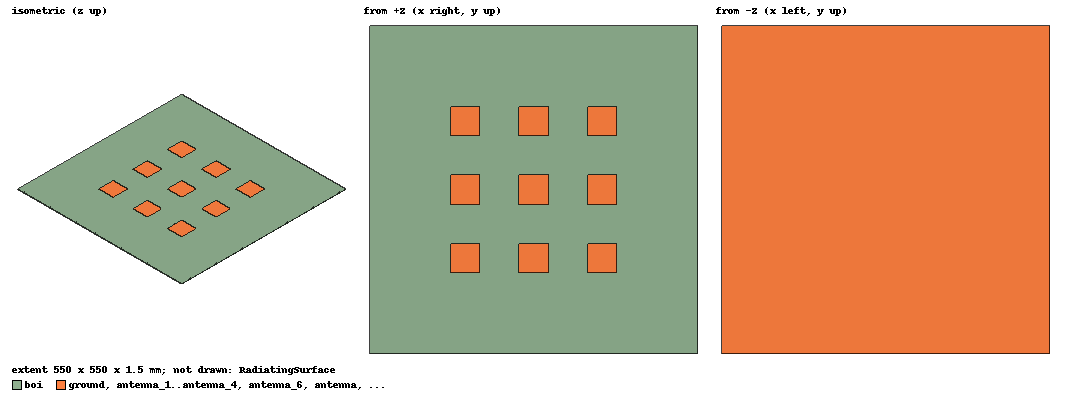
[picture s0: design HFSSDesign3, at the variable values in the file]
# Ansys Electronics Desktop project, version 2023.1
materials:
  FR4_epoxy: permittivity=4.4 dielectric_loss_tangent=0.02
  Rogers RT/duroid 5880 (tm): permittivity=2.2 dielectric_loss_tangent=0.0009
  vacuum: permittivity=1

design HFSSDesign3 (HFSS, HFSS Hybrid Terminal Network, model units mm)
options: open_region{BoundaryType=0 OpFreq=2GHz}
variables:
  sub_x = 55cm
  sub_y = 55cm
  sub_z = 1.5mm
  ant_x = 48.75mm
  ant_y = ant_x
  delta = 4mm
  strip_w = 0.16mm
  chop = 10mm
  r_corn = 5mm
  xd0 = 115mm
  yd0 = 115mm
  xd1 = xd0
  yd1 = 0mm
  xd2 = xd0
  yd2 = - yd0
  xd3 = 0mm
  yd3 = yd0
  xd4 = 0mm
  yd4 = - yd0
  xd5 = - xd0
  yd5 = yd0
  xd6 = - xd0
  yd6 = 0mm
  xd7 = - xd0
  yd7 = - yd0
  c_p0 = 1V
  box_x = 65mm
  box_y = box_x
  x0 = [24.2740191429942, 21.661046225253] mm
  y0 = [24.2740191429942, 0] mm
  x1 = [24.2740191429942, 21.661046225253] mm
  y1 = [24.2740191429942, 0] mm
  x2 = [24.2740191429942, 21.661046225253] mm
  y2 = [24.2740191429942, 0] mm
  x3 = [24.2740191429942, 21.661046225253] mm
  y3 = [24.2740191429942, 0] mm
  x4 = [24.2740191429942, 21.661046225253] mm
  y4 = [24.2740191429942, 0] mm
  x5 = [24.2740191429942, 21.661046225253] mm
  y5 = [24.2740191429942, 0] mm
  x6 = [24.2740191429942, 21.661046225253] mm
  y6 = [24.2740191429942, 0] mm
  x7 = [24.2740191429942, 21.661046225253] mm
  y7 = [24.2740191429942, 0] mm
  c1 = 1e-06V
  p1 = 0
  c2 = 1e-06V
  p2 = 0
  c3 = 1e-06V
  p3 = 0
  c4 = 1e-06V
  c5 = 1e-06V
  c6 = 1e-06V
  c7 = 1e-06V
  c8 = 1e-06V
  c9 = 1e-06V
  p4 = 0
  p5 = 0
  p6 = 0
  p7 = 0
  p8 = 0
  p9 = 0
  c_p1 = 1e-06V
  c_p2 = 1e-06V
  c_p3 = 1e-06V
  c_p4 = 1e-06V
  c_p5 = 1e-06V
  c_p6 = 1e-06V
  c_p7 = 1e-06V
  c_p8 = 1e-06V
  c_p9 = 1e-06V
  p_p1 = 0
  p_p2 = 0
  p_p3 = 0
  p_p4 = 0
  p_p6 = 0
  p_p5 = 0
  p_p7 = 0
  p_p8 = 0
  p_p9 = 0
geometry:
  substrate = box(corner=(-sub_x / 2, - sub_y / 2, - sub_z), size=(sub_x, sub_y, sub_z))
  antenna = rectangle(corner=(-ant_x / 2, - ant_y / 2, 0mm), x_size=ant_x, y_size=ant_y)
  ground [FR4_epoxy] = object_from(boi.face(2 of 6))
  strip = rectangle(corner=(ant_x / 2 + delta, - strip_w / 2, 0mm), x_size=- delta, y_size=strip_w)
  port = rectangle(corner=(ant_x / 2 + delta, - strip_w / 2, 0mm), y_size=strip_w, z_size=-sub_z)
  coordinate_system RelativeCS1 = origin=(0mm, 0mm, 0mm) Euler Angle ZYZ phi=0deg theta=270deg psi=0deg
  antenna_1 = antenna.duplicate_along_line(step=(xd0, yd0, 0mm), total=2)
  strip_1 = strip.duplicate_along_line(step=(xd0, yd0, 0mm), total=2)
  port_1 = port.duplicate_along_line(step=(xd0, yd0, 0mm), total=2)
  strip_2 = strip.duplicate_along_line(step=(xd1, yd1, 0mm), total=2)
  antenna_2 = antenna.duplicate_along_line(step=(xd1, yd1, 0mm), total=2)
  port_2 = port.duplicate_along_line(step=(xd1, yd1, 0mm), total=2)
  strip_3 = strip.duplicate_along_line(step=(xd2, yd2, 0mm), total=2)
  antenna_3 = antenna.duplicate_along_line(step=(xd2, yd2, 0mm), total=2)
  port_3 = port.duplicate_along_line(step=(xd2, yd2, 0mm), total=2)
  strip_4 = strip.duplicate_along_line(step=(xd3, yd3, 0mm), total=2)
  antenna_4 = antenna.duplicate_along_line(step=(xd3, yd3, 0mm), total=2)
  port_4 = port.duplicate_along_line(step=(xd3, yd3, 0mm), total=2)
  strip_5 = strip.duplicate_along_line(step=(xd4, yd4, 0mm), total=2)
  antenna_5 = antenna.duplicate_along_line(step=(xd4, yd4, 0mm), total=2)
  port_5 = port.duplicate_along_line(step=(xd4, yd4, 0mm), total=2)
  strip_6 = strip.duplicate_along_line(step=(xd5, yd5, 0mm), total=2)
  antenna_6 = antenna.duplicate_along_line(step=(xd5, yd5, 0mm), total=2)
  port_6 = port.duplicate_along_line(step=(xd5, yd5, 0mm), total=2)
  strip_7 = strip.duplicate_along_line(step=(xd6, yd6, 0mm), total=2)
  antenna_7 = antenna.duplicate_along_line(step=(xd6, yd6, 0mm), total=2)
  port_7 = port.duplicate_along_line(step=(xd6, yd6, 0mm), total=2)
  strip_8 = strip.duplicate_along_line(step=(xd7, yd7, 0mm), total=2)
  antenna_8 = antenna.duplicate_along_line(step=(xd7, yd7, 0mm), total=2)
  port_8 = port.duplicate_along_line(step=(xd7, yd7, 0mm), total=2)
  port_perp = port.duplicate_around_axis(axis=Z, angle=-90deg, total=2)
  strip_perp = strip.duplicate_around_axis(axis=Z, angle=-90deg, total=2)
  port_perp_1 = port_perp.duplicate_along_line(step=(xd0, yd0, 0mm), total=2)
  strip_perp_1 = strip_perp.duplicate_along_line(step=(xd0, yd0, 0mm), total=2)
  port_perp_2 = port_perp.duplicate_along_line(step=(xd1, yd1, 0mm), total=2)
  strip_perp_2 = strip_perp.duplicate_along_line(step=(xd1, yd1, 0mm), total=2)
  port_perp_3 = port_perp.duplicate_along_line(step=(xd2, yd2, 0mm), total=2)
  strip_perp_3 = strip_perp.duplicate_along_line(step=(xd2, yd2, 0mm), total=2)
  port_perp_4 = port_perp.duplicate_along_line(step=(xd3, yd3, 0mm), total=2)
  strip_perp_4 = strip_perp.duplicate_along_line(step=(xd3, yd3, 0mm), total=2)
  port_perp_5 = port_perp.duplicate_along_line(step=(xd4, yd4, 0mm), total=2)
  strip_perp_5 = strip_perp.duplicate_along_line(step=(xd4, yd4, 0mm), total=2)
  port_perp_6 = port_perp.duplicate_along_line(step=(xd5, yd5, 0mm), total=2)
  strip_perp_6 = strip_perp.duplicate_along_line(step=(xd5, yd5, 0mm), total=2)
  port_perp_7 = port_perp.duplicate_along_line(step=(xd6, yd6, 0mm), total=2)
  strip_perp_7 = strip_perp.duplicate_along_line(step=(xd6, yd6, 0mm), total=2)
  port_perp_8 = port_perp.duplicate_along_line(step=(xd7, yd7, 0mm), total=2)
  strip_perp_8 = strip_perp.duplicate_along_line(step=(xd7, yd7, 0mm), total=2)
  boi [Rogers RT/duroid 5880 (tm)] = box(corner=(- box_x / 2, - box_y / 2, - sub_z), size=(box_x, box_y, sub_z))
  boi_1 = boi.duplicate_along_line(step=(xd0, yd0, 0mm), total=2)
  boi_2 = boi.duplicate_along_line(step=(xd1, yd1, 0mm), total=2)
  boi_3 = boi.duplicate_along_line(step=(xd2, yd2, 0mm), total=2)
  boi_4 = boi.duplicate_along_line(step=(xd3, yd3, 0mm), total=2)
  boi_5 = boi.duplicate_along_line(step=(xd4, yd4, 0mm), total=2)
  boi_6 = boi.duplicate_along_line(step=(xd5, yd5, 0mm), total=2)
  boi_7 = boi.duplicate_along_line(step=(xd6, yd6, 0mm), total=2)
  boi_8 = boi.duplicate_along_line(step=(xd7, yd7, 0mm), total=2)
  boi_9 = boi.copy()
  boi_1_1 = boi_1.copy()
  boi_2_1 = boi_2.copy()
  boi_3_1 = boi_3.copy()
  boi_4_1 = boi_4.copy()
  boi_5_1 = boi_5.copy()
  boi_6_1 = boi_6.copy()
  boi_7_1 = boi_7.copy()
  boi_8_1 = boi_8.copy()
  substrate.subtract(boi_9, boi_1_1, boi_2_1, boi_3_1, boi_4_1, boi_5_1, boi_6_1, boi_7_1, boi_8_1)
  boi.unite(boi_1..boi_8, substrate)
  [antenna, ground, strip, port, antenna_1, strip_1, port_1, strip_2, antenna_2, port_2, strip_3, antenna_3, port_3, strip_4, antenna_4, port_4, strip_5, antenna_5, port_5, strip_6, antenna_6, port_6, strip_7, antenna_7, port_7, strip_8, antenna_8, port_8, port_perp, strip_perp, port_perp_1, strip_perp_1, port_perp_2, strip_perp_2, port_perp_3, strip_perp_3, port_perp_4, strip_perp_4, port_perp_5, strip_perp_5, port_perp_6, strip_perp_6, port_perp_7, strip_perp_7, port_perp_8, strip_perp_8, boi].rotate(axis=Y, angle=90deg)
  [antenna, ground, strip, port, antenna_1, strip_1, port_1, strip_2, antenna_2, port_2, strip_3, antenna_3, port_3, strip_4, antenna_4, port_4, strip_5, antenna_5, port_5, strip_6, antenna_6, port_6, strip_7, antenna_7, port_7, strip_8, antenna_8, port_8, port_perp, strip_perp, port_perp_1, strip_perp_1, port_perp_2, strip_perp_2, port_perp_3, strip_perp_3, port_perp_4, strip_perp_4, port_perp_5, strip_perp_5, port_perp_6, strip_perp_6, port_perp_7, strip_perp_7, port_perp_8, strip_perp_8, boi].rotate(axis=Y, angle=-90deg)
  RadiatingSurface [vacuum] = region(absolute_offset=50mm on all sides)
  group Group1 = antenna, strip, port, antenna_1, strip_1, port_1, strip_2, antenna_2, port_2, strip_3, antenna_3, port_3, strip_4, antenna_4, port_4, strip_5, antenna_5, port_5, strip_6, antenna_6, port_6, strip_7, antenna_7, port_7, strip_8, antenna_8, port_8, port_perp, strip_perp, port_perp_1, strip_perp_1, port_perp_2, strip_perp_2, port_perp_3, strip_perp_3, port_perp_4, strip_perp_4, port_perp_5, strip_perp_5, port_perp_6, strip_perp_6, port_perp_7, strip_perp_7, port_perp_8, strip_perp_8
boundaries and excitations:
  PerfE1: Perfect E Faces=boi.face(at (0, 0, -1.5))
  PerfE2: Perfect E Objects=[antenna, antenna_1..antenna_8, strip, strip_1..strip_8, strip_perp, strip_perp_1..strip_perp_8]
  AutoOpen1: Radiation Objects=RadiatingSurface
  strip_T1: Terminal port=1 Edges=strip.edge(at (28.375, 0, 0)) TerminalResistance=50ohm
  strip_T2: Terminal port=2 Edges=strip_1.edge(at (143.375, 115, 0)) TerminalResistance=50ohm
  strip_T3: Terminal port=3 Edges=strip_2.edge(at (143.375, 0, 0)) TerminalResistance=50ohm
  strip_T4: Terminal port=4 Edges=strip_3.edge(at (143.375, -115, 0)) TerminalResistance=50ohm
  strip_T5: Terminal port=5 Edges=strip_4.edge(at (28.375, 115, 0)) TerminalResistance=50ohm
  strip_T6: Terminal port=6 Edges=strip_5.edge(at (28.375, -115, 0)) TerminalResistance=50ohm
  strip_T7: Terminal port=7 Edges=strip_6.edge(at (-86.625, 115, 0)) TerminalResistance=50ohm
  strip_T8: Terminal port=8 Edges=strip_7.edge(at (-86.625, 0, 0)) TerminalResistance=50ohm
  strip_T9: Terminal port=9 Edges=strip_8.edge(at (-86.625, -115, 0)) TerminalResistance=50ohm
  strip_perp_T1: Terminal port=perp_1 Edges=strip_perp.edge(at (0, -28.375, 0)) TerminalResistance=50ohm
  strip_perp_T2: Terminal port=perp_2 Edges=strip_perp_1.edge(at (115, 86.625, 0)) TerminalResistance=50ohm
  strip_perp_T3: Terminal port=perp_3 Edges=strip_perp_2.edge(at (115, -28.375, 0)) TerminalResistance=50ohm
  strip_perp_T4: Terminal port=perp_4 Edges=strip_perp_3.edge(at (115, -143.375, 0)) TerminalResistance=50ohm
  strip_perp_T5: Terminal port=perp_5 Edges=strip_perp_4.edge(at (0, 86.625, 0)) TerminalResistance=50ohm
  strip_perp_T6: Terminal port=perp_6 Edges=strip_perp_5.edge(at (0, -143.375, 0)) TerminalResistance=50ohm
  strip_perp_T7: Terminal port=perp_7 Edges=strip_perp_6.edge(at (-115, 86.625, 0)) TerminalResistance=50ohm
  strip_perp_T8: Terminal port=perp_8 Edges=strip_perp_7.edge(at (-115, -28.375, 0)) TerminalResistance=50ohm
  strip_perp_T9: Terminal port=perp_9 Edges=strip_perp_8.edge(at (-115, -143.375, 0)) TerminalResistance=50ohm
  1: Lumped Port Faces=port.face(at (28.375, 0, -0.75)) LumpedPortType=Terminal RenormalizeAllTerminals=false Impedance=200ohm
  2: Lumped Port Faces=port_1.face(at (143.375, 115, -0.75)) LumpedPortType=Terminal RenormalizeAllTerminals=false Impedance=200ohm
  3: Lumped Port Faces=port_2.face(at (143.375, 0, -0.75)) LumpedPortType=Terminal RenormalizeAllTerminals=false Impedance=200ohm
  4: Lumped Port Faces=port_3.face(at (143.375, -115, -0.75)) LumpedPortType=Terminal RenormalizeAllTerminals=false Impedance=200ohm
  5: Lumped Port Faces=port_4.face(at (28.375, 115, -0.75)) LumpedPortType=Terminal RenormalizeAllTerminals=false Impedance=200ohm
  6: Lumped Port Faces=port_5.face(at (28.375, -115, -0.75)) LumpedPortType=Terminal RenormalizeAllTerminals=false Impedance=200ohm
  7: Lumped Port Faces=port_6.face(at (-86.625, 115, -0.75)) LumpedPortType=Terminal RenormalizeAllTerminals=false Impedance=200ohm
  8: Lumped Port Faces=port_7.face(at (-86.625, 0, -0.75)) LumpedPortType=Terminal RenormalizeAllTerminals=false Impedance=200ohm
  9: Lumped Port Faces=port_8.face(at (-86.625, -115, -0.75)) LumpedPortType=Terminal RenormalizeAllTerminals=false Impedance=200ohm
  perp_1: Lumped Port Faces=port_perp.face(at (0, -28.375, -0.75)) LumpedPortType=Terminal RenormalizeAllTerminals=false Impedance=200ohm
  perp_2: Lumped Port Faces=port_perp_1.face(at (115, 86.625, -0.75)) LumpedPortType=Terminal RenormalizeAllTerminals=false Impedance=200ohm
  perp_3: Lumped Port Faces=port_perp_2.face(at (115, -28.375, -0.75)) LumpedPortType=Terminal RenormalizeAllTerminals=false Impedance=200ohm
  perp_4: Lumped Port Faces=port_perp_3.face(at (115, -143.375, -0.75)) LumpedPortType=Terminal RenormalizeAllTerminals=false Impedance=200ohm
  perp_5: Lumped Port Faces=port_perp_4.face(at (0, 86.625, -0.75)) LumpedPortType=Terminal RenormalizeAllTerminals=false Impedance=200ohm
  perp_6: Lumped Port Faces=port_perp_5.face(at (0, -143.375, -0.75)) LumpedPortType=Terminal RenormalizeAllTerminals=false Impedance=200ohm
  perp_7: Lumped Port Faces=port_perp_6.face(at (-115, 86.625, -0.75)) LumpedPortType=Terminal RenormalizeAllTerminals=false Impedance=200ohm
  perp_8: Lumped Port Faces=port_perp_7.face(at (-115, -28.375, -0.75)) LumpedPortType=Terminal RenormalizeAllTerminals=false Impedance=200ohm
  perp_9: Lumped Port Faces=port_perp_8.face(at (-115, -143.375, -0.75)) LumpedPortType=Terminal RenormalizeAllTerminals=false Impedance=200ohm
  reference conductors: ground
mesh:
  Length6: LengthBased RefineInside disabled Objects=boi NumMaxElem=80000 MaxLength=4mm
  Length8: LengthBased RefineInside disabled Objects=RadiatingSurface NumMaxElem=95000 MaxLength=60mm
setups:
  Setup1: HfssDriven Frequency=2GHz MaxDeltaS=0.05 MaximumPasses=10 MinimumPasses=1 MinimumConvergedPasses=1 PercentRefinement=30 BasisOrder=1 PortAccuracy=2 DrivenSolverType="Iterative Solver" IterativeResidual=1e-06 DDMSolverResidual=0.0001 SaveRadFieldsOnly
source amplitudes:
  1:1: c1 p1
  2:1: c2 p2
  3:1: c3 p3
  4:1: c4 p4
  5:1: c5 p5
  6:1: c6 p6
  7:1: c7 p7
  8:1: c8 p8
  9:1: c9 p9
  perp_1:1: c_p1 p_p1
  perp_2:1: c_p2 p_p2
  perp_3:1: c_p3 p_p3
  perp_4:1: c_p4 p_p4
  perp_5:1: c_p5 p_p5
  perp_6:1: c_p6 p_p6
  perp_7:1: c_p7 p_p7
  perp_8:1: c_p8 p_p8
  perp_9:1: c_p9 p_p9
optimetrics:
  ParametricSetup1: Parametric disabled Sim._Setups=[Setup1]
    sweep r_corn: LIN 3mm 12mm 1mm
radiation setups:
  Infinite Sphere1: Infinite Sphere Theta=0deg..180deg step 1deg Phi=-180deg..180deg step 1deg CoordSystem=RelativeCS1
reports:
  rE Plot 1: mag(rEPhi) vs Phi, Theta on Setup1 : LastAdaptive, Infinite Sphere1 [Freq=2GHz]
  rE Plot 2: mag(rETheta) vs Phi, Theta on Setup1 : LastAdaptive, Infinite Sphere1 [Freq=2GHz]
  Gain Plot 2: GainTotal vs Theta on Setup1 : LastAdaptive, Infinite Sphere1 [Phi=-20deg Freq=2GHz]
  Gain Plot 3: GainTotal vs Phi on Setup1 : LastAdaptive, Infinite Sphere1 [Theta=100deg Freq=2GHz]
  Gain Plot 4: GainTotal vs Phi, Theta on Setup1 : LastAdaptive, Infinite Sphere1 [Freq=2GHz]
  Phi_Gain: GainPhi vs Phi, Theta on Setup1 : LastAdaptive, Infinite Sphere1 [Freq=2GHz]
  Gain Plot 5: GainTheta vs Phi, Theta on Setup1 : LastAdaptive, Infinite Sphere1 [Freq=2GHz]
  Phi_Gain_1: GainPhi vs Phi, Theta
